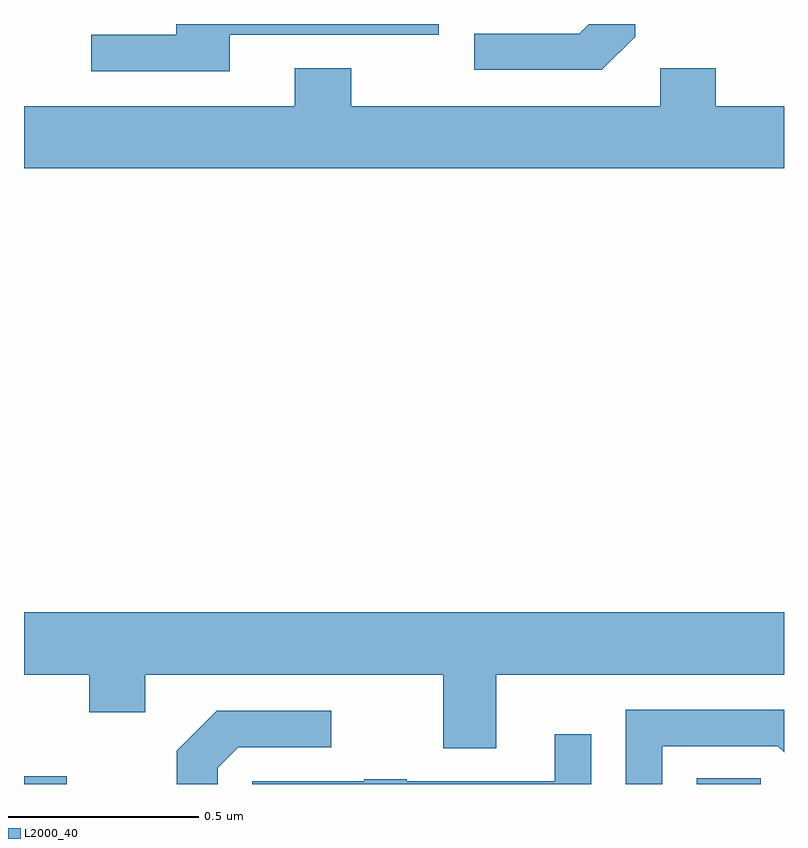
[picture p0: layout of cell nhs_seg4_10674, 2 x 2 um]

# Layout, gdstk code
import gdstk
lib = gdstk.Library(unit=1e-6, precision=1e-09)
def R(c, l, rs):  # rectangles x0, y0, x1, y1
    for r in rs: c.add(gdstk.rectangle(r[:2], r[2:], *l))
def P(c, l, *ps):  # polygons
    for p in ps: c.add(gdstk.Polygon(p, *l))
L2000_40 = (2000, 40)

nhs_seg4_10674 = lib.new_cell('nhs_seg4_10674')
R(nhs_seg4_10674, L2000_40, [(243,761.9,243.112,761.92), (244.77,761.9,244.939,761.915)])
P(nhs_seg4_10674, L2000_40, [(243.541,763.872),(244.092,763.872),(244.092,763.9),(243.401,763.9),(243.401,763.872),(243.177,763.872),(243.177,763.776),(243.541,763.776)],
  [(244.608,763.866),(244.608,763.9),(244.486,763.9),(244.461,763.875),(244.185,763.875),(244.185,763.779),(244.521,763.779)],
  [(245,763.684),(244.821,763.684),(244.821,763.783),(244.674,763.783),(244.674,763.684),(243.861,763.684),(243.861,763.783),(243.713,763.783),(243.713,763.684),(243,763.684),(243,763.52),(245,763.52)],
  [(244.243,762.188),(245,762.188),(245,762.352),(243,762.352),(243,762.188),(243.172,762.188),(243.172,762.089),(243.319,762.089),(243.319,762.188),(244.103,762.188),(244.103,761.994),(244.243,761.994)],
  [(244.68,762),(244.983,762),(245,761.983),(245,762.096),(244.584,762.096),(244.584,761.9),(244.68,761.9)],
  [(243.51,761.943),(243.564,761.997),(243.808,761.997),(243.808,762.093),(243.507,762.093),(243.402,761.987),(243.402,761.9),(243.51,761.9)],
  [(244.493,762.031),(244.397,762.031),(244.397,761.907),(244.007,761.907),(244.007,761.912),(243.895,761.912),(243.895,761.907),(243.6,761.907),(243.6,761.9),(244.493,761.9)])

lib.write_gds('nhs_seg4_10674.gds')
